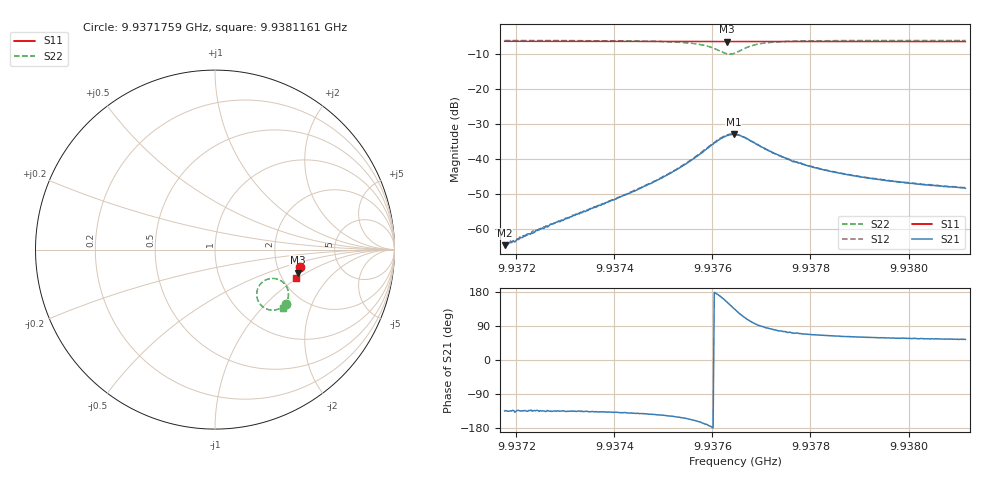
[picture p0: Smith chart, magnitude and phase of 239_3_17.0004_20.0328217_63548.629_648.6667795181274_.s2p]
#  HZ  S  RI  R  50.00
! Rohde & Schwarz Vector Network Analyzer
! Rohde-Schwarz,ZNB20-2Port,1311601062101988,3.16
! Created: UTC 3/20/2024, 11:02:48 PM
! freq[Hz]  re:S11  im:S11  re:S21  im:S21  re:S12  im:S12  re:S22  im:S22
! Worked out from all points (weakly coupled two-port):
!   401 points, 9.9371759 GHz to 9.9381161 GHz, reference 50 ohm
!   highest |S21| = -32.87 dB at 9.9376436 GHz (marker M1); lowest = -64.5 dB at 9.9371759 GHz (marker M2)
!   lowest |S11| = -6.4 dB at 9.9376295 GHz (marker M3), VSWR 2.84, Z = 126 - j41.8 ohm
!   |S11| at or under -10 dB: nowhere
!   |S22| runs from -10.0 to -6.1 dB; largest |S21 - S12| = 0.001
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9.93717589e9  0.474 -0.0988  -0.000415 -0.000424  -0.000417 -0.000394  0.3955 -0.3023
9.93719234e9  0.4735 -0.0999  -0.000454 -0.000492  -0.000489 -0.000469  0.3941 -0.3033
9.93722525e9  0.473 -0.1021  -0.000591 -0.000629  -0.000599 -0.000608  0.3916 -0.306
9.937237e9  0.4728 -0.1028  -0.000624 -0.000656  -0.000663 -0.000666  0.3907 -0.3067
9.93733337e9  0.4708 -0.1093  -0.00122 -0.00123  -0.00127 -0.00118  0.381 -0.3153
9.93743914e9  0.4685 -0.1165  -0.00268 -0.00222  -0.00277 -0.00225  0.3632 -0.3269
9.93749085e9  0.4672 -0.1201  -0.00422 -0.00298  -0.00433 -0.00296  0.3474 -0.3332
9.93753785e9  0.4659 -0.1233  -0.00702 -0.00369  -0.00725 -0.00363  0.3219 -0.3374
9.93758251e9  0.4642 -0.1264  -0.0128 -0.00276  -0.0132 -0.00273  0.2747 -0.3244
9.93760602e9  0.4631 -0.1274  -0.0174 0.000958  -0.0177 0.00131  0.2416 -0.2883
9.93762952e9  0.462 -0.1279  -0.0196 0.0099  -0.0195 0.0106  0.2393 -0.2145
9.93764362e9  0.4621 -0.1282  -0.0163 0.0158  -0.0157 0.0165  0.2738 -0.174
9.93764597e9  0.4622 -0.1282  -0.0155 0.0164  -0.015 0.0172  0.2815 -0.1697
9.93766007e9  0.4624 -0.1286  -0.00974 0.0188  -0.00917 0.0193  0.3292 -0.1609
9.93767418e9  0.4626 -0.1295  -0.00483 0.0184  -0.00436 0.0186  0.3663 -0.1732
9.93770003e9  0.4627 -0.1314  0.000282 0.015  0.000554 0.015  0.3994 -0.2083
9.93773294e9  0.4623 -0.134  0.00246 0.0114  0.00269 0.0113  0.4091 -0.2423
9.93776114e9  0.4617 -0.1362  0.00303 0.00902  0.00322 0.00924  0.409 -0.2609
9.93780345e9  0.4609 -0.1391  0.00307 0.00716  0.00325 0.00717  0.405 -0.2785
9.93787866e9  0.459 -0.1442  0.00285 0.00526  0.00297 0.00525  0.397 -0.2968
9.93796093e9  0.457 -0.1497  0.00258 0.00417  0.0027 0.00418  0.3893 -0.309
9.93811605e9  0.4529 -0.1597  0.00224 0.00313  0.00233 0.00315  0.3777 -0.3235
